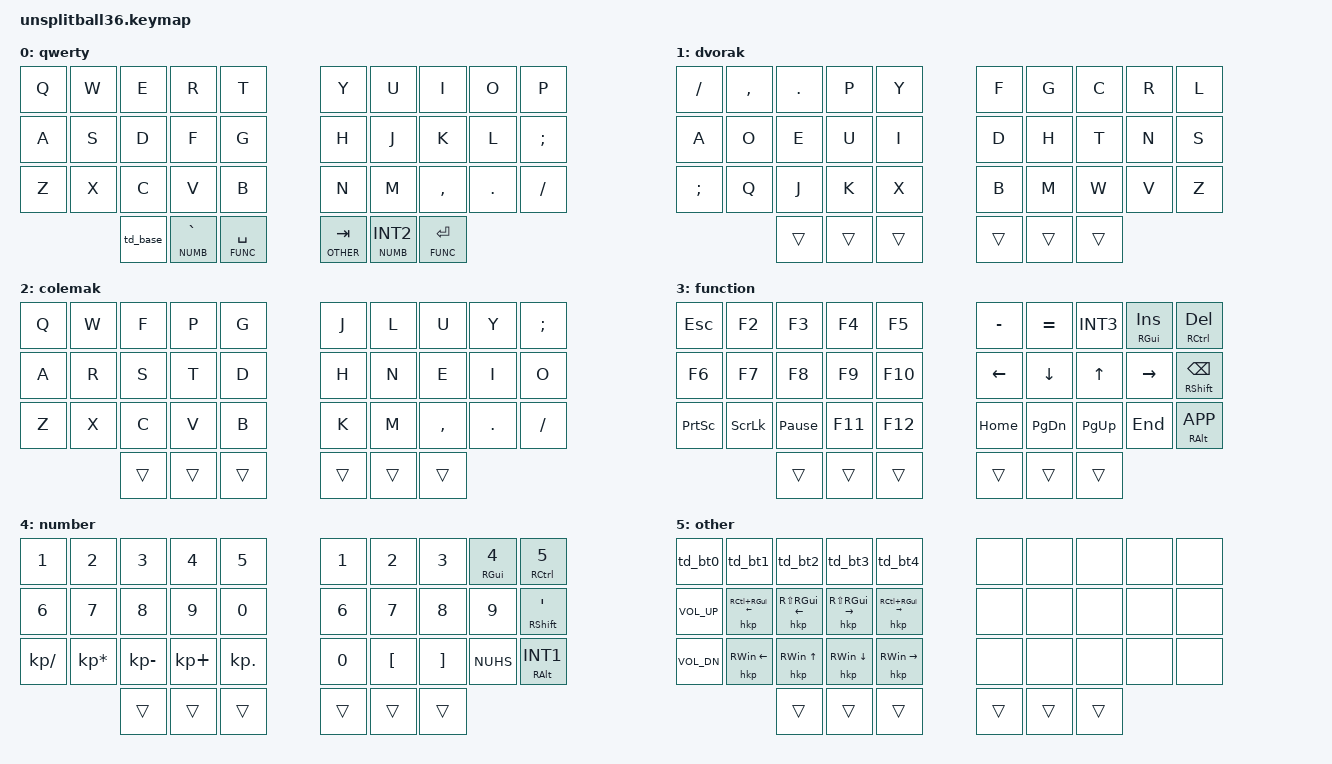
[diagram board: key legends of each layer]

#include <behaviors.dtsi>
#include <dt-bindings/zmk/bt.h>
#include <dt-bindings/zmk/keys.h>
#include <dt-bindings/zmk/outputs.h>
#include <dt-bindings/zmk/pointing.h>
#include <input/processors/sensor_rotation.dtsi>

#define QWERTY	0
#define DVORAK	1
#define COLEMAK	2
// #define EUCALYN	3
#define FUNC	3
#define NUMB	4
#define OTHER	5

#define COMBO(NAME, TM, POS, BIND) NAME {\
	slow-release; timeout-ms = <TM>;\
	key-positions = POS; bindings = BIND;\
}

#define MACRO(NAME, ...) NAME: NAME {\
	compatible = "zmk,behavior-macro";\
	#binding-cells = <0>; bindings = __VA_ARGS__;\
}

#define MACRO_ONE_PARAM(NAME, ...) NAME: NAME {\
	compatible = "zmk,behavior-macro-one-param";\
	#binding-cells = <1>; bindings = __VA_ARGS__;\
}

#define MACRO_TWO_PARAM(NAME, ...) NAME: NAME {\
	compatible = "zmk,behavior-macro-two-param";\
	#binding-cells = <2>; bindings = __VA_ARGS__;\
}

#define TAP_DANCE(NAME, TERM, ...) NAME: NAME {\
	compatible = "zmk,behavior-tap-dance";\
	#binding-cells = <0>; tapping-term-ms = <TERM>; bindings = __VA_ARGS__;\
}

&lt { flavor = "hold-preferred"; };
&mt { flavor = "hold-preferred"; quick-tap-ms = <300>; };
&sensor_rotation { rotation-angle = <25>; };

/ {
	behaviors {
		
		MACRO(mkp_2mb1, <&macro_tap &mkp MB1 &mkp MB1>);
		MACRO(mkp_3mb1, <&macro_tap &mkp MB1 &mkp MB1 &mkp MB1>);
		
		MACRO(half, <&macro_tap &kp INT2 &kp GRAVE>);
		MACRO(home, <&macro_tap &kp A &kp S &kp D &kp F &kp SEMI &kp L &kp K &kp J>);

		MACRO_ONE_PARAM(bt_clr
			, <&macro_param_1to2>
			, <&macro_tap &bt BT_SEL MACRO_PLACEHOLDER>
			, <&macro_tap &bt BT_CLR>
		);

		MACRO_TWO_PARAM(hkp
			, <&macro_param_1to1>, <&macro_press &kp MACRO_PLACEHOLDER>
			, <&macro_param_2to1>, <&macro_press &kp MACRO_PLACEHOLDER>
			, <&macro_pause_for_release>
			, <&macro_param_2to1>, <&macro_release &kp MACRO_PLACEHOLDER>
			, <&macro_param_1to1>, <&macro_release &kp MACRO_PLACEHOLDER>
		);

		TAP_DANCE(td_grave, 300, <&half>, <&kp INT2>);
		TAP_DANCE(td_tab, 300, <&kp TAB>, <&hkp LSHFT TAB>);
		TAP_DANCE(td_bt0, 300, <&bt BT_SEL 0>, <&bt_clr 0>);
		TAP_DANCE(td_bt1, 300, <&bt BT_SEL 1>, <&bt_clr 1>);
		TAP_DANCE(td_bt2, 300, <&bt BT_SEL 2>, <&bt_clr 2>);
		TAP_DANCE(td_bt3, 300, <&bt BT_SEL 3>, <&bt_clr 3>);
		TAP_DANCE(td_bt4, 300, <&bt BT_SEL 4>, <&bt_clr 4>);
		TAP_DANCE(td_base, 1000, <&to QWERTY>, <&to DVORAK>, <&to COLEMAK>);
		// TAP_DANCE(td_base, 1000, <&to QWERTY>, <&to DVORAK>, <&to COLEMAK>, <&to EUCALYN>);
	};
	
	keymap {
		
		compatible = "zmk,keymap";
		qwerty {
			bindings = <
				&kp Q	&kp W		&kp E			&kp R			&kp T			&kp Y			&kp U	&kp I		&kp O		&kp P
				&kp A	&kp S		&kp D			&kp F			&kp G			&kp H			&kp J	&kp K		&kp L		&kp SEMI
				&kp Z	&kp X		&kp C			&kp V			&kp B			&kp N			&kp M	&kp COMMA	&kp DOT		&kp SLASH
						&td_base	&lt NUMB GRAVE	&lt FUNC SPACE	&lt OTHER TAB	&lt NUMB INT2	&lt FUNC ENTER
			>;
		};
		dvorak {
			bindings = <
				&kp SLASH	&kp COMMA	&kp DOT		&kp P	&kp Y	&kp F	&kp G	&kp C	&kp R	&kp L
				&kp A		&kp O		&kp E		&kp U	&kp I	&kp D	&kp H	&kp T	&kp N	&kp S
				&kp SEMI	&kp Q		&kp J		&kp K	&kp X	&kp B	&kp M	&kp W	&kp V	&kp Z
							&trans		&trans		&trans	&trans	&trans	&trans
			>;
		};
		colemak {
			bindings = <
				&kp Q	&kp W	&kp F	&kp P	&kp G	&kp J	&kp L	&kp U		&kp Y	&kp SEMI
				&kp A	&kp R	&kp S	&kp T	&kp D	&kp H	&kp N	&kp E		&kp I	&kp O
				&kp Z	&kp X	&kp C	&kp V	&kp B	&kp K	&kp M	&kp COMMA	&kp DOT	&kp SLASH
						&trans	&trans	&trans	&trans	&trans	&trans
			>;
		};
		// eucalyn {
		// 	bindings = <
		// 		&kp Q	&kp W	&kp COMMA	&kp DOT		&kp SEMI	&kp M	&kp R	&kp D	&kp Y	&kp P
		// 		&kp A	&kp O	&kp E		&kp I		&kp U		&kp G	&kp T	&kp K	&kp S	&kp N
		// 		&kp Z	&kp X	&kp C		&kp V		&kp F		&kp B	&kp H	&kp J	&kp L	&kp SLASH
		// 				&trans	&trans		&trans		&trans		&trans	&trans
		// 	>;
		// };
		function {
			bindings = <
				&kp ESC		&kp F2		&kp F3			&kp F4		&kp F5		&kp MINUS	&kp EQUAL	&kp INT3	&mt RGUI INS	&mt RCTRL DEL
				&kp F6		&kp F7		&kp F8			&kp F9		&kp F10		&kp LEFT	&kp DOWN	&kp UP		&kp RIGHT		&mt RSHFT BSPC
				&kp PSCRN	&kp SLCK	&kp PAUSE_BREAK	&kp F11		&kp F12		&kp HOME	&kp PG_DN	&kp PG_UP	&kp END			&mt RALT K_APP
							&trans		&trans			&trans		&trans		&trans		&trans
			>;
		};
		number {
			bindings = <
				&kp N1			&kp N2				&kp N3			&kp N4			&kp N5			&kp N1		&kp N2		&kp N3		&mt RGUI N4		&mt RCTRL N5
				&kp N6			&kp N7				&kp N8			&kp N9			&kp N0			&kp N6		&kp N7		&kp N8		&kp N9			&mt RSHFT SQT
				&kp KP_SLASH	&kp KP_ASTERISK		&kp KP_MINUS	&kp KP_PLUS		&kp KP_DOT		&kp N0		&kp LBKT	&kp RBKT	&kp NUHS		&mt RALT INT1
								&trans				&trans			&trans			&trans			&trans		&trans
			>;
		};
		other {
			bindings = <
				&td_bt0			&td_bt1				&td_bt2				&td_bt3				&td_bt4				&none	&none	&none	&none	&none
				&kp C_VOL_UP 	&hkp RC(RGUI) LEFT	&hkp RS(RGUI) LEFT	&hkp RS(RGUI) RIGHT	&hkp RC(RGUI) RIGHT	&none	&none	&none	&none	&none
				&kp C_VOL_DN	&hkp RWIN LEFT		&hkp RWIN UP		&hkp RWIN DOWN		&hkp RWIN RIGHT		&none	&none	&none	&none	&none
								&trans				&trans				&trans				&trans				&trans	&trans
			>;
		};
	};
	
	combos {
		
		compatible = "zmk,combos";
		
		// COMBO(bootloader, 35, <0 10 20>, <&bootloader>);		COMBO(out_tog, 35, <0 1>, <&out OUT_TOG>);
		
		COMBO(single_mb1, 35, <16 17>, <&mkp MB1>);				COMBO(single_mb2, 35, <17 18>, <&mkp MB2>);
		COMBO(single_mb4, 35, <26 27>, <&mkp MB4>);				COMBO(single_mb5, 35, <27 28>, <&mkp MB5>);
		COMBO(double_mb1, 35, <16 17 18>, <&mkp_2mb1>);			COMBO(triple_mb1, 35, <26 27 28>, <&mkp_3mb1>);
		COMBO(single_mb3, 35, <16 18>, <&mkp MB3>);				COMBO(mute, 35, <10 20>, <&kp C_MUTE>);

		COMBO(hrm_lctl, 35, <10 11>, <&kp LCTRL>);				COMBO(hrm_lsht, 35, <11 12>, <&kp LSHFT>);
		COMBO(hrm_lalt, 35, <12 13>, <&kp LALT>);				COMBO(hrm_lgui, 35, <12 14>, <&kp LGUI>);
		COMBO(hrm_lctl_lsht, 35, <10 11 12>, <&kp LC(LSHFT)>);	COMBO(hrm_lsht_lalt, 35, <11 12 13>, <&kp LS(LALT)>);
		COMBO(hrm_lalt_lgui, 35, <13 14>, <&kp LA(LGUI)>);		COMBO(hrm_lsht_lgui, 35, <11 14>, <&kp LS(LGUI)>);
		COMBO(hrm_lctl_lgui, 35, <10 14>, <&kp LC(LGUI)>);		COMBO(hrm_lctl_lalt, 35, <10 13>, <&kp LC(LALT)>);

		COMBO(hrm_lmeh, 35, <10 11 12 13>, <&kp LC(LS(LALT))>);

		COMBO(home, 35, <13 16>, <&home>);
		COMBO(out_tog, 35, <0 1>, <&out OUT_TOG>);
	};
};

/ {
	
	input-processors {
		
		zip_scroll_x_scaler: zip_scroll_x_scaler {
			
			compatible = "zmk,input-processor-scaler";
			#input-processor-cells = <2>;
			type = <INPUT_EV_REL>;
			codes = <INPUT_REL_HWHEEL>;
			track-remainders;
		};
		
		zip_scroll_y_scaler: zip_scroll_y_scaler {
			
			compatible = "zmk,input-processor-scaler";
			#input-processor-cells = <2>;
			type = <INPUT_EV_REL>;
			codes = <INPUT_REL_WHEEL>;
			track-remainders;
		};
	};
	
	trackball_listener: trackball_listener {
		
		input-processors
			= <&sensor_rotation>
			, <&zip_x_scaler 3 5>
			, <&zip_y_scaler 4 5>
			, <&zip_xy_transform (INPUT_TRANSFORM_X_INVERT | INPUT_TRANSFORM_Y_INVERT)>
		;
		
		vertical_scroller {
			
			layers = <FUNC>;
			process-next;
			input-processors
				= <&zip_xy_to_scroll_mapper>
				, <&zip_scroll_x_scaler 0 32>
				, <&zip_scroll_y_scaler 1 32>
				, <&zip_scroll_transform (INPUT_TRANSFORM_X_INVERT)>
			;
		};
		
		horizontal_scroller {
			
			layers = <NUMB>;
			process-next;
			input-processors
				= <&zip_xy_to_scroll_mapper>
				, <&zip_scroll_y_scaler 0 32>
				, <&zip_scroll_x_scaler 1 32>
				, <&zip_scroll_transform (INPUT_TRANSFORM_X_INVERT)>
			;
		};
	};
};
